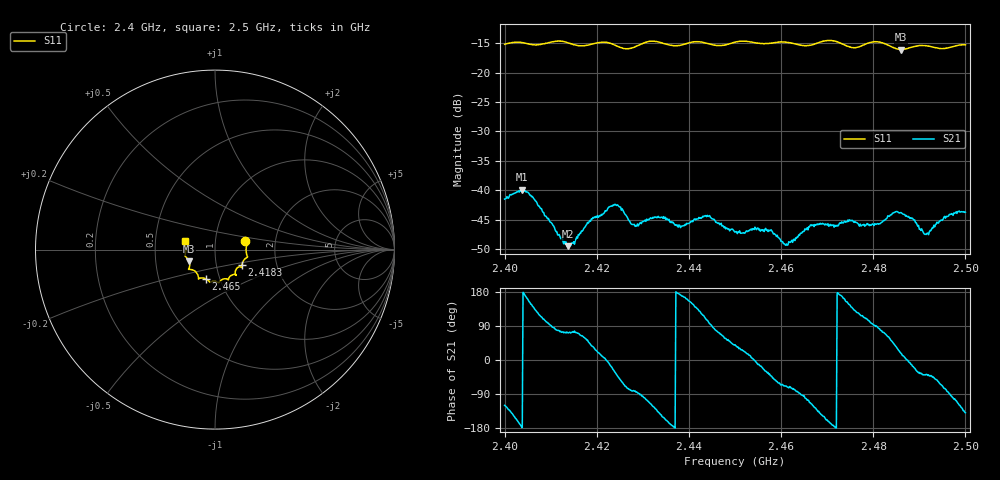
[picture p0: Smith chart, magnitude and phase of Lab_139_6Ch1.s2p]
# Hz S RI R 50
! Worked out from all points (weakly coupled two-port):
!   601 points, 2.4 GHz to 2.5 GHz, reference 50 ohm
!   highest |S21| = -39.93 dB at 2.4037 GHz (marker M1); lowest = -49.5 dB at 2.4138 GHz (marker M2)
!   lowest |S11| = -16.0 dB at 2.486 GHz (marker M3), VSWR 1.38, Z = 37.1 - j4.98 ohm
!   |S11| at or under -10 dB: start of sweep to end of sweep
!   S12 and S22 are empty: the file has one direction only
!   S11 on the Smith chart (normalised r, x): 2.4 GHz: 1.40, +0.13; 2.4183 GHz: 1.33, -0.24; 2.465 GHz: 0.86, -0.29; 2.5 GHz: 0.71, +0.07
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2.4e9  0.1689 0.0456  -0.00416 -0.00729  0 0  0 0
2.403667e9  0.179 0.029  -0.0101 -0.000737  0 0  0 0
2.4065e9  0.1729 0.00325  -0.00583 0.00594  0 0  0 0
2.413833e9  0.1737 -0.0466  0.00106 0.00316  0 0  0 0
2.416667e9  0.155 -0.0686  0.00198 0.00403  0 0  0 0
2.418333e9  0.1498 -0.087  0.00375 0.00385  0 0  0 0
2.424e9  0.1423 -0.0962  0.00635 -0.00412  0 0  0 0
2.428167e9  0.1135 -0.1206  0.000682 -0.00507  0 0  0 0
2.433333e9  0.1166 -0.1414  -0.00439 -0.00408  0 0  0 0
2.438167e9  0.0813 -0.1513  -0.00475 0.000708  0 0  0 0
2.444e9  0.0682 -0.1644  -0.00158 0.00589  0 0  0 0
2.45e9  0.0253 -0.1806  0.00335 0.00284  0 0  0 0
2.4575e9  -0.0142 -0.1777  0.00361 -0.0027  0 0  0 0
2.461e9  -0.0305 -0.18  0.00122 -0.00316  0 0  0 0
2.465e9  -0.0526 -0.1621  -0.000339 -0.00445  0 0  0 0
2.466667e9  -0.0712 -0.1576  -0.00222 -0.00446  0 0  0 0
2.479667e9  -0.1458 -0.1103  -0.000547 0.00505  0 0  0 0
2.483333e9  -0.1419 -0.0959  0.00288 0.00525  0 0  0 0
2.486e9  -0.1437 -0.0653  0.00614 0.002  0 0  0 0
2.4915e9  -0.1673 -0.0308  0.00332 -0.00257  0 0  0 0
2.495833e9  -0.1612 0.0146  0.00119 -0.00587  0 0  0 0
2.5e9  -0.1666 0.0471  -0.00493 -0.00424  0 0  0 0
